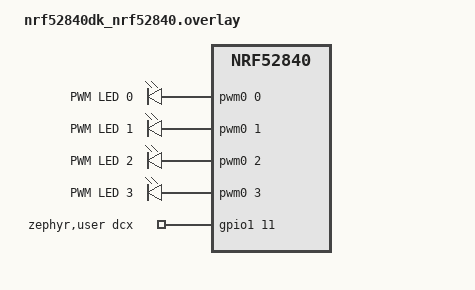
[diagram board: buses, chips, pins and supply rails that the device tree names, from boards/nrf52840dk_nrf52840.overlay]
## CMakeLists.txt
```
#-------------------------------------------------------------------------------
# Zephyr Example Application
#
# Copyright (c) 2021 Nordic Semiconductor ASA
# SPDX-License-Identifier: Apache-2.0

cmake_minimum_required(VERSION 3.13.1)
find_package(Zephyr REQUIRED HINTS $ENV{ZEPHYR_BASE})

project(app LANGUAGES C)

zephyr_include_directories(src)

target_sources(app PRIVATE src/main.c)
target_sources(app PRIVATE src/states.c)
```

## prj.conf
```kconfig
# Copyright (c) 2021 Nordic Semiconductor ASA
# SPDX-License-Identifier: Apache-2.0
#
# This file contains selected Kconfig options for the application.

CONFIG_GPIO=y
CONFIG_PWM=y
CONFIG_SMF=y
CONFIG_COMPILER_WARNINGS_AS_ERRORS=y

CONFIG_UART_ASYNC_API=y
```

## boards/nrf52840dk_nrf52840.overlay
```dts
/ {
    pwmleds {
        compatible = "pwm-leds";
        pwm_led0: pwm_led_0 {
            pwms = <&pwm0 0 PWM_MSEC(20) PWM_POLARITY_NORMAL>;
            label = "PWM LED 0";
        };
        pwm_led1: pwm_led_1 {
            pwms = <&pwm0 1 PWM_MSEC(20) PWM_POLARITY_NORMAL>;
            label = "PWM LED 1";
        };
        pwm_led2: pwm_led_2 {
            pwms = <&pwm0 2 PWM_MSEC(20) PWM_POLARITY_NORMAL>;
            label = "PWM LED 2";
        };
        pwm_led3: pwm_led_3 {
            pwms = <&pwm0 3 PWM_MSEC(20) PWM_POLARITY_NORMAL>;
            label = "PWM LED 3";
        };
    };

    zephyr,user {
        dcx-gpios = <&gpio1 11 GPIO_ACTIVE_HIGH>;
    };

    arduino_spi {
        cs-gpios = <&gpio1 12 GPIO_ACTIVE_LOW>;
    };

    aliases {
        pwm-led0 = &pwm_led0;
        pwm-led1 = &pwm_led1;
        pwm-led2 = &pwm_led2;
        pwm-led3 = &pwm_led3;
    };
};

&pinctrl { 
    pwm0_default: pwm0_default {
		group1 {
			psels = 
                <NRF_PSEL(PWM_OUT0, 0, 13)>, 
                <NRF_PSEL(PWM_OUT1, 0, 14)>, 
                <NRF_PSEL(PWM_OUT2, 0, 15)>, 
                <NRF_PSEL(PWM_OUT3, 0, 16)>;
			nordic,invert;
		};
	};

    pwm0_sleep: pwm0_sleep {
		group1 {
			psels = 
                <NRF_PSEL(PWM_OUT0, 0, 13)>, 
                <NRF_PSEL(PWM_OUT1, 0, 14)>, 
                <NRF_PSEL(PWM_OUT2, 0, 15)>, 
                <NRF_PSEL(PWM_OUT3, 0, 16)>;
			low-power-enable;
		};
	};
};
```

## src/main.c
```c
/**
 * @file main.c
 */

#include <inttypes.h>

#include <zephyr/kernel.h>
#include <zephyr/device.h>
#include <zephyr/drivers/gpio.h>
#include <zephyr/drivers/uart.h>
#include <zephyr/sys/printk.h>


#include "BTN.h"
#include "LED.h"
#include "states.h"

#define SLEEP_MS 1


const struct device *uart = DEVICE_DT_GET(DT_NODELABEL(UART0));

if (!device_id_ready(uart)) {
  return;
}



int main(void) {
  if (0 > BTN_init()) {
    return 0;
  }
  if (0 > LED_init()) {
    return 0;
  }

  crochet_counter_init();
  
  while (1) {
    int ret = crochet_counter_run();
    if (0 > ret) {
      return 0;
    }

    k_msleep(SLEEP_MS);
  }
  return 0;
}
```

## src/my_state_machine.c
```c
/**
 * @file my_state_machine.c
 */

#include <zephyr/smf.h>

#include "LED.h"
#include "BTN.h"
#include "my_state_machine.h"

/*---------------------------------------------------------
 * Function Prototypes  - defines the entry, running and exits
 *-------------------------------------------------------*/

static void s0_state_entry(void* o);
static enum smf_state_result s0_state_run(void* o);
static void s0_state_exit(void* o);

static void s1_state_entry(void* o);
static enum smf_state_result s1_state_run(void* o);
static void s1_state_exit(void* o);

static void s2_state_entry(void* o);
static enum smf_state_result s2_state_run(void* o);
static void s2_state_exit(void* o);

static void s3_state_entry(void* o);
static enum smf_state_result s3_state_run(void* o);
static void s3_state_exit(void* o);

static void s4_state_entry(void* o);
static enum smf_state_result s4_state_run(void* o);
static void s4_state_exit(void* o);


/*---------------------------------------------------------
 * Typedefs
 *-------------------------------------------------------*/
// enum assigns numbers
enum state_diagram_machine_states {     // 'defines' all the states
    ALL_LEDS_OFF_STATE,
    LED_1_BLINK_4HZ_STATE,
    LED_ODD_ON_STATE,
    LED_EVEN_ON_STATE,
    ALL_LED_BLINK_16HZ_STATE
};
typedef struct {
    struct smf_ctx ctx;
    
    uint16_t count;

}s_state_objects_t;

/*---------------------------------------------------------
 * Local Variables
 *-------------------------------------------------------*/
static const struct smf_state s_states[] = {
    [ALL_LEDS_OFF_STATE] = SMF_CREATE_STATE(s0_state_entry, s0_state_run, s0_state_exit, NULL, NULL),
    [LED_1_BLINK_4HZ_STATE] = SMF_CREATE_STATE(s1_state_entry, s1_state_run, s1_state_exit, NULL, NULL),   
    [LED_ODD_ON_STATE] = SMF_CREATE_STATE(s2_state_entry, s2_state_run, s2_state_exit, NULL, NULL),
    [LED_EVEN_ON_STATE] = SMF_CREATE_STATE(s3_state_entry, s3_state_run, s3_state_exit, NULL, NULL),
    [ALL_LED_BLINK_16HZ_STATE] = SMF_CREATE_STATE(s4_state_entry, s4_state_run, s4_state_exit, NULL, NULL)
};


static s_state_objects_t s_state_objects;

void state_machine_init() {
    s_state_objects.count = 0;
    smf_set_initial(SMF_CTX(&s_state_objects), &s_states[ALL_LEDS_OFF_STATE]);
}

int state_machine_run() {
    return smf_run_state(SMF_CTX(&s_state_objects));
}

//S0
static void s0_state_entry(void* o){
    s_state_objects.count = 0;
    LED_set(LED0, LED_OFF);
    LED_set(LED1, LED_OFF);
    LED_set(LED2, LED_OFF);
    LED_set(LED3, LED_OFF);
    printk("Entering S0\n");
}

static enum smf_state_result s0_state_run(void* o){
    if (BTN_check_clear_pressed(BTN0)) {
        smf_set_state(SMF_CTX(&s_state_objects), &s_states[LED_1_BLINK_4HZ_STATE]);
    }
    return SMF_EVENT_HANDLED; // for non-hierarchical state machines
}

static void s0_state_exit(void* o){
    printk("Exiting S0\n");
}

//S1
static void s1_state_entry(void* o) {
    printk("Entering S1\n");
    s_state_objects.count = 0;
    LED_blink(LED0, LED_4HZ); // placed in entry works over in run, in run will require an extra button to run
}

static enum smf_state_result s1_state_run(void* o){

    if (BTN_check_clear_pressed(BTN3)) {
        smf_set_state(SMF_CTX(&s_state_objects), &s_states[ALL_LEDS_OFF_STATE]);
    }
    else if (BTN_check_clear_pressed(BTN2)) {
        smf_set_state(SMF_CTX(&s_state_objects), &s_states[ALL_LED_BLINK_16HZ_STATE]);
    }
    else if (BTN_check_clear_pressed(BTN1)) {
        smf_set_state(SMF_CTX(&s_state_objects), &s_states[LED_ODD_ON_STATE]);
    }
    return SMF_EVENT_HANDLED;
}

static void s1_state_exit(void* o){
    printk("Exiting S1\n");
}

//S2
static void s2_state_entry(void* o){
    printk("Entering S2\n");
    s_state_objects.count = 0;
    LED_set(LED0, LED_ON);
    LED_set(LED2, LED_ON);
}

static enum smf_state_result s2_state_run(void* o) {
    if (s_state_objects.count > 1000) {
        s_state_objects.count = 0;
        smf_set_state(SMF_CTX(&s_state_objects), &s_states[LED_EVEN_ON_STATE]);
    }
    else {
        s_state_objects.count++;
    }
    if (BTN_check_clear_pressed(BTN3)) {
        smf_set_state(SMF_CTX(&s_state_objects), &s_states[ALL_LEDS_OFF_STATE]);
    }

    return SMF_EVENT_HANDLED;
}
static void s2_state_exit(void* o) {
    printk("Exiting S2\n");
    LED_set(LED0, LED_OFF);
    LED_set(LED2, LED_OFF);
}

//S3
static void s3_state_entry(void* o) {
    printk("Entering S3\n");
    s_state_objects.count = 0;
    LED_set(LED1, LED_ON);
    LED_set(LED3, LED_ON);
}

static enum smf_state_result s3_state_run(void* o) {
    if (s_state_objects.count > 2000) {
        s_state_objects.count = 0;
        smf_set_state(SMF_CTX(&s_state_objects), &s_states[LED_ODD_ON_STATE]);
    }
    else {
        s_state_objects.count++;
    }
    if (BTN_check_clear_pressed(BTN3)) {
        smf_set_state(SMF_CTX(&s_state_objects), &s_states[ALL_LEDS_OFF_STATE]);
    }

    return SMF_EVENT_HANDLED;
}
static void s3_state_exit(void* o) {
    printk("Exiting S3\n");
    LED_set(LED1, LED_OFF);
    LED_set(LED3, LED_OFF);
}

//S4
static void s4_state_entry(void* o) {
    printk("Entering S4\n");
    LED_blink(LED0, LED_16HZ);
    LED_blink(LED1, LED_16HZ);
    LED_blink(LED2, LED_16HZ);
    LED_blink(LED3, LED_16HZ);
    s_state_objects.count = 0;
}

static enum smf_state_result s4_state_run(void* o) {
    if (BTN_check_clear_pressed(BTN3)) {
        smf_set_state(SMF_CTX(&s_state_objects), &s_states[ALL_LEDS_OFF_STATE]);
    }

    return SMF_EVENT_HANDLED;
}
static void s4_state_exit(void* o) {
    printk("Exiting S4\n");
}


// typedef struct { // this is like a toolbox that is shared throughout the program, like a save file
//     // Context variable used by zephyr to track state machine state. Must be first
//     struct smf_ctx ctx;

//     uint16_t count; // count is put in here bc every state needs a counter, uint16_t is an unsigned 16 bit int
// } led_state_object_t; // a structure that'll look at state and count


// static led_state_object_t led_state_object;

// void state_machine_init() {
//     led_state_object.count = 0;
//     smf_set_initial(SMF_CTX(&led_state_object), &led_states[LED_ON_STATE]);
// }

// int state_machine_run() {
//     return smf_run_state(SMF_CTX(&led_state_object));
// }

// static void led_off_state_exit(void* o) {
//     LED_set(LED0, LED_ON);
// }

// static enum smf_state_result led_on_state_run(void* o){
//     if (led_state_object.count > 500) {
//         led_state_object.count = 0;
//         smf_set_state(SMF_CTX(&led_state_object), &led_states[LED_OFF_STATE]);
//     } else {
//         led_state_object.count++;
//     }

//     return SMF_EVENT_HANDLED;
// }

// static void led_on_state_exit(void* o) {
//     LED_set(LED0, LED_OFF);
// }

// static enum smf_state_result led_off_state_run(void* o) {
//     if(led_state_object.count > 500) {
//         led_state_object.count = 0;
//         smf_set_state(SMF_CTX(&led_state_object), &led_states[LED_ON_STATE]);
//     } else {
//         led_state_object.count++;
//     }

//     return SMF_EVENT_HANDLED;
// }
```

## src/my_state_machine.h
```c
/**
 * @file my_state_machine.h
 */

#ifndef MY_STATE_MACHINE_H
#define MY_STATE_MACHINE_H

void state_machine_init();

int state_machine_run();

#endif //MY_STATE_MACHINE_H
```

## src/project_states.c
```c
/*
 * project_states.c
 *
 */

#include <zephyr/smf.h>

#include "project_states.h"
#include "BTN.h"
#include "LED.h"

#include <math.h>
#include <string.h>

/*----------------------------------------------------------------
 * Function Prototypes
 *--------------------------------------------------------------*/

 // State
static void start_entry(void* o);
static enum smf_state_result start_run(void* o);
static void start_exit(void* o);

static void selection_entry(void* o);
static enum smf_state_result selection_run(void* o);
static void selection_exit(void* o);

static void amount_entry(void* o);
static enum smf_state_result amount_run(void* o);
static void amount_exit(void* o);

static void review_entry(void* o);
static enum smf_state_result review_run(void* o);
static void review_exit(void* o);

// static void end_entry(void* o);
// static enum smf_state_result end_run(void* o);
// static void end_exit(void* o);

static void restart_entry(void* o);
static enum smf_state_result restart_run(void* o);
static void restart_exit(void* o);

static void final_entry(void* o);
static enum smf_state_result final_run(void* o);
static void final_exit(void* o);


 // Functions
int binaryToDecimal(int binary[], int length);
/*Converts binary to decimal.
   Require
     A binary value the user has inputted and the length of the binary 
     number.
   Promises: The decimal equivalent of the binary number.
   */

void led_setting(int led_num, char *state);
/*
    Require
      The specific LED to change the state of, and the desired state.
    Promises: The specific LED will either turn ON or OFF
*/

void turn_off_all_leds();
void turn_on_all_leds();



/*----------------------------------------------------------------
 * Typedefs
 *--------------------------------------------------------------*/

enum states_def {
    RND_1,
    STITCH_SELECTOR,
    AMOUNT,
    RND_REVIEW,
    END_RND,
    RESTART_OPTIONS,
    FINISH_PROJECT
};

enum stitches { // Keep adding on as needed
    NO_STITCHES,
    MAGIC_RING,             //btn0
    SLIP_KNOT,              //btn1

    CHAIN,                  //btn0
    SINGLE_CROCHET,         //btn1
    DOUBLE_CROCHET,         //btn2
    HALF_DOUBLE_CROCHET,    //btn3
    /*SLIP_STITCH*/
};

static const char *stitch_names[] = {
    "no",
    "MR",
    "Slip knot",

    "CH",
    "SC",
    "DC",
    "HDC",
    /*"SL ST"*/
};


typedef struct {
    enum stitches stitch;
    int amount;
} stitch_t;
typedef struct {
  struct smf_ctx ctx;

  int round_number;                    // starts at zero, but = rnd 1
  int stitch_number;
  int places, count, first_appearance; // places = which place value, count 
  int binary_amount[4];                // binary value from 0 to 9
  int decimal_conversion, decimal_amount;
  
  stitch_t project_rnd[20][20]; // set limit for how many rounds now and how many can go in each list, edit later
} project_states_objects_t;



/*----------------------------------------------------------------
 * Local Variables
 *--------------------------------------------------------------*/

static const struct smf_state states[] = {
    [RND_1] = SMF_CREATE_STATE(start_entry, start_run, start_exit, NULL, NULL),
    [STITCH_SELECTOR] = SMF_CREATE_STATE(selection_entry, selection_run, selection_exit, NULL, NULL),
    [AMOUNT] = SMF_CREATE_STATE(amount_entry, amount_run, amount_exit, NULL, NULL),
    [RND_REVIEW] = SMF_CREATE_STATE(review_entry, review_run, review_exit, NULL, NULL),
    // [END_RND] = SMF_CREATE_STATE(end_entry, end_run, end_exit, NULL, NULL),
    [RESTART_OPTIONS] = SMF_CREATE_STATE(restart_entry, restart_run, restart_exit, NULL, NULL),
    [FINISH_PROJECT] = SMF_CREATE_STATE(final_entry, final_run, final_exit, NULL, NULL)
};

static project_states_objects_t state_objects;

/*----------------------------------------------------------------
 * State Definitions
 *--------------------------------------------------------------*/

 void project_states_init() {
    state_objects.round_number = 0;
    memset(state_objects.project_rnd, 0, sizeof(state_objects.project_rnd));
    memset(state_objects.binary_amount, 0, sizeof(state_objects.binary_amount));
    
    smf_set_initial(SMF_CTX(&state_objects), &states[RND_1]);
 }

 int project_states_run() {
    return smf_run_state(SMF_CTX(&state_objects));
 }

//-------------------------------------------MAYBE ADD SOME OTHER INITIALIZER-------
 // Round 1 Initialization
 static void start_entry(void* o) {
    memset(state_objects.project_rnd, 0, sizeof(state_objects.project_rnd));
    memset(state_objects.binary_amount, 0, sizeof(state_objects.binary_amount));
    state_objects.round_number = 0;
    state_objects.stitch_number = 0;
    printk("--------------------\nProject Begin: \n\nRound 1: ");
    LED_blink(LED0, LED_4HZ);
}
 
 // select starting stitch
 static enum smf_state_result start_run(void* o) {
    if (BTN_check_clear_pressed(BTN0)) {
        state_objects.project_rnd[state_objects.round_number][state_objects.stitch_number].stitch = MAGIC_RING;
        printk("%s, ", stitch_names[MAGIC_RING]);
        smf_set_state(SMF_CTX(&state_objects), &states[STITCH_SELECTOR]);
    }

    if (BTN_check_clear_pressed(BTN1)) {
        state_objects.project_rnd[state_objects.round_number][state_objects.stitch_number].stitch = SLIP_KNOT;
        printk("%s, ", stitch_names[SLIP_KNOT]);
        smf_set_state(SMF_CTX(&state_objects), &states[STITCH_SELECTOR]);
    }

    return SMF_EVENT_HANDLED;
 }

 static void start_exit(void* o) {
    state_objects.stitch_number++;      // move to next stitch
    turn_off_all_leds();
 }


 // Sticth Selection
 static void selection_entry(void* o) {
    LED_blink(LED1, LED_4HZ);
 } 
 static enum smf_state_result selection_run(void* o) {
    if (BTN_check_clear_pressed(BTN0)) {
        state_objects.project_rnd[state_objects.round_number][state_objects.stitch_number].stitch = CHAIN;
        printk("%s ", stitch_names[CHAIN]);
        smf_set_state(SMF_CTX(&state_objects), &states[AMOUNT]);
    }

    if (BTN_check_clear_pressed(BTN1)) {
        state_objects.project_rnd[state_objects.round_number][state_objects.stitch_number].stitch = SINGLE_CROCHET;
        printk("%s ", stitch_names[SINGLE_CROCHET]);
        smf_set_state(SMF_CTX(&state_objects), &states[AMOUNT]);
    }

    if (BTN_check_clear_pressed(BTN2)) {
        state_objects.project_rnd[state_objects.round_number][state_objects.stitch_number].stitch = DOUBLE_CROCHET;
        printk("%s ", stitch_names[DOUBLE_CROCHET]);
        smf_set_state(SMF_CTX(&state_objects), &states[AMOUNT]);
    }

    if (BTN_check_clear_pressed(BTN3)) {
        state_objects.project_rnd[state_objects.round_number][state_objects.stitch_number].stitch = HALF_DOUBLE_CROCHET;
        printk("%s ", stitch_names[HALF_DOUBLE_CROCHET]);
        smf_set_state(SMF_CTX(&state_objects), &states[AMOUNT]);
    }

    return SMF_EVENT_HANDLED;
}

 static void selection_exit(void* o) {
    turn_off_all_leds();
 }


 // Amount of Stitches -------- Only use 0s and 1s
 static void amount_entry(void* o) {
    state_objects.places = 2;
    state_objects.count = 0;
    state_objects.decimal_conversion = 0;
    state_objects.decimal_amount = 0;
    turn_off_all_leds(); // Turn off all led

    memset(state_objects.binary_amount, 0, sizeof(state_objects.binary_amount));
 }

 static enum smf_state_result amount_run(void* o) {
    led_setting(state_objects.places, "ON"); // Turn / keep on Led for specific place values

    // uses idea of bcd to determine ones, tens, and hundreds place amount
    // For ones place:
    if (state_objects.places == 0) {
        if (BTN_check_clear_pressed(BTN0)) {
            state_objects.binary_amount[state_objects.count] = 0;
            state_objects.count++;
        }
        if (BTN_check_clear_pressed(BTN1)) {
            state_objects.binary_amount[state_objects.count] = 1;
            state_objects.count++;
        }
    }
    // For tens place:
     if (state_objects.places == 1) {
        if (BTN_check_clear_pressed(BTN0)) {
            state_objects.binary_amount[state_objects.count] = 0;
            state_objects.count++;
        }
        if (BTN_check_clear_pressed(BTN1)) {
            state_objects.binary_amount[state_objects.count] = 1;
            state_objects.count++;
        }
    }
    // For hundreds place:
     if (state_objects.places == 2) {
        if (BTN_check_clear_pressed(BTN0)) {
            state_objects.binary_amount[state_objects.count] = 0;
            state_objects.count++;
        }
        if (BTN_check_clear_pressed(BTN1)) {
            state_objects.binary_amount[state_objects.count] = 1;
            state_objects.count++;
        }
    }

    // Convert binary to Decimal
    // Max stitches = 999
    if (BTN_check_clear_pressed(BTN2) || (state_objects.count == 4)) {
        state_objects.decimal_conversion = binaryToDecimal(state_objects.binary_amount, state_objects.count);
        
        if (state_objects.places == 0) {
            state_objects.decimal_amount += state_objects.decimal_conversion;
        }
        if (state_objects.places == 1) {
            state_objects.decimal_amount += state_objects.decimal_conversion * 10;
        }
        if (state_objects.places == 2) {
            state_objects.decimal_amount += state_objects.decimal_conversion * 100;
        }

        state_objects.places--;
        state_objects.count = 0;
    }

    if (state_objects.places == -1) {
        printk("%d ", state_objects.decimal_amount);
        state_objects.project_rnd[state_objects.round_number][state_objects.stitch_number].amount = state_objects.decimal_amount;

        smf_set_state(SMF_CTX(&state_objects), &states[RND_REVIEW]);
    }

    return SMF_EVENT_HANDLED;
 }

 static void amount_exit(void* o) {
    turn_off_all_leds();
 }
   

 // Rnd Review
 static void review_entry(void* o) {
    state_objects.first_appearance = 0;
    LED_blink(LED2, LED_4HZ);
 }
 
 static enum smf_state_result review_run(void* o) {
    if (state_objects.first_appearance == 0) {
        printk("\n\nThe result for Round %d: ", state_objects.round_number + 1);

        for (int i = 0; i < 20; i++) { 
            if (strcmp(stitch_names[state_objects.project_rnd[state_objects.round_number][i].stitch], "no") == 0) {
                break;
            }
            if ((i == 0) && (state_objects.first_appearance == 0) && state_objects.round_number == 0) {
                printk("%s, ", stitch_names[state_objects.project_rnd[state_objects.round_number][i].stitch]);
            }
            else{
            printk("%s %d, ", stitch_names[state_objects.project_rnd[state_objects.round_number][i].stitch], state_objects.project_rnd[state_objects.round_number][i].amount);
            }
        }

        state_objects.first_appearance = 1;

        printk("\nSelect:\n\t1) Continue round %d\n\t2) Move to round %d\n\t3) Finish project\n\t4) Move to restart options\n\n", state_objects.round_number + 1, state_objects.round_number + 2);
            //"Select:\n
            // \t1) Continue to round %d\n
            // \t2) Move to round %d\n
            // \t3) Finish project\n 
            // \t4)Move to restart options    }
    }

    if (BTN_check_clear_pressed(BTN0)) {   // Continue round
        state_objects.stitch_number++;
        printk("Round %d: ", state_objects.round_number + 1);

        for (int i = 0; i < state_objects.stitch_number; i++) {
            if ((i == 0) && (state_objects.first_appearance == 1) && state_objects.round_number == 0) { //print first stitch of rnd 1 with no amount, but following first stitchs with an amount
                printk("%s, ", stitch_names[state_objects.project_rnd[state_objects.round_number][i].stitch]);
            }
            else{
                printk("%s %d, ", stitch_names[state_objects.project_rnd[state_objects.round_number][i].stitch], state_objects.project_rnd[state_objects.round_number][i].amount);
            }
        }
        smf_set_state(SMF_CTX(&state_objects), &states[STITCH_SELECTOR]);
    }

    if (BTN_check_clear_pressed(BTN1)) {   // Move to next round
        state_objects.round_number++;
        state_objects.stitch_number = 0;
        printk("Round %d: ", state_objects.round_number + 1);
        smf_set_state(SMF_CTX(&state_objects), &states[STITCH_SELECTOR]);
    }

    if (BTN_check_clear_pressed(BTN2)) {   // End the project
        smf_set_state(SMF_CTX(&state_objects), &states[FINISH_PROJECT]);
    }

    if (BTN_check_clear_pressed(BTN3)) {   // Move to Restart options
        smf_set_state(SMF_CTX(&state_objects), &states[RESTART_OPTIONS]);
    }

    return SMF_EVENT_HANDLED;
}

 static void review_exit(void* o) {
    turn_off_all_leds();
 }
  


 // Restart Option
 static void restart_entry(void* o) {
    state_objects.first_appearance = 0;
    LED_blink(LED3, LED_4HZ);
    printk("You have chosen restart options:\n");
 }

 static enum smf_state_result restart_run(void* o) {
    if (state_objects.first_appearance == 0) {
        printk("\t1) Restart round %d\n\t2) Restart project\n\t3) Cancel\n", state_objects.round_number + 1);

        state_objects.first_appearance++;
    }
    // \t1) Restart round\n
    // \t2) Restart project
    // \t3) Cancel

    if (BTN_check_clear_pressed(BTN0)) {
        memset(state_objects.project_rnd[state_objects.round_number], 0, sizeof(state_objects.project_rnd[state_objects.round_number]));
        state_objects.stitch_number = 0;
        printk("\n----------\nRound %d: ", state_objects.round_number + 1);

        smf_set_state(SMF_CTX(&state_objects), &states[STITCH_SELECTOR]);
    }

    if (BTN_check_clear_pressed(BTN1)) {
        smf_set_state(SMF_CTX(&state_objects), &states[RND_1]);   //RND_1 already clears
    }

    return SMF_EVENT_HANDLED;

 }

 static void restart_exit(void* o) {
    turn_off_all_leds();
 }
 

 // Complete the Project
 static void final_entry(void* o) {
    state_objects.first_appearance = 0;
    turn_on_all_leds();
 }

 static enum smf_state_result final_run(void* o) {
    if (state_objects.first_appearance == 0) {
        int k;
        printk("\n-----------------------\nPrinting Project... \n\n");
        
        for (int j = 0; j <= state_objects.round_number; j++) {
            printk("Round %d: ", j + 1);
            for (k = 0; k < 19; k++) {
                if (state_objects.project_rnd[j][k+1].stitch == NO_STITCHES) {
                    break;
                }
                if ((k == 0) && state_objects.first_appearance == 0) {  //print first stitch of rnd 1 with no amount
                    printk("%s, ", stitch_names[state_objects.project_rnd[j][k].stitch]);
                }
                else{
                    printk("%s %d, ", stitch_names[state_objects.project_rnd[j][k].stitch], state_objects.project_rnd[j][k].amount);                }
            }

            if (state_objects.project_rnd[j][k].stitch != NO_STITCHES) { //print final stitch with no comma at the end
                printk("%s %d\n", stitch_names[state_objects.project_rnd[j][k].stitch], state_objects.project_rnd[j][k].amount);
            }
        }

        printk("\n----------End----------\n\n");
        printk("Would you like to make another?\n\t1) Yes -> BTN0\n\n");
        state_objects.first_appearance = 1;
    }

    if (BTN_check_clear_pressed(BTN0)) {
        smf_set_state(SMF_CTX(&state_objects), &states[RND_1]);
    }

    return SMF_EVENT_HANDLED;
 }

 static void final_exit(void* o) {
    turn_off_all_leds();
 }









/*-------------------------------------------------
 * Functions 
 *-----------------------------------------------*/
int binaryToDecimal(int binary[], int length) {
    int decimal = 0;

    for (int i = 0; i < length; i++) {
        decimal += (binary[length - 1 - i] << i); // binary shifting, better version of 2^i
    }

    return decimal;
}


// add more led functionalities here
void led_setting(int led_num, char *state) {

    //Turn each on individually
    if (led_num == 0 && strcmp(state, "ON") == 0) {         // if desired led is 0 and state is required to be on
        LED_set(LED0, LED_ON);
    }

    if (led_num == 1 && strcmp(state, "ON") == 0) {
        LED_set(LED1, LED_ON);
    }

    if (led_num == 2 && strcmp(state, "ON") == 0) {
        LED_set(LED2, LED_ON);
    }
}


void turn_off_all_leds() {
    LED_set(LED0, LED_OFF);
    LED_set(LED1, LED_OFF);
    LED_set(LED2, LED_OFF);
    LED_set(LED3, LED_OFF);
}

void turn_on_all_leds() {
    LED_set(LED0, LED_ON);
    LED_set(LED1, LED_ON);
    LED_set(LED2, LED_ON);
    LED_set(LED3, LED_ON);
}
```

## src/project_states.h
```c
/*
 * project_states.h
 *
 */

#ifndef PROJECT_STATES_H
#define PROJECT_STATES_H

void project_states_init();
int project_states_run();

#endif /* PROJECT_STATES_H */
```

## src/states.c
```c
/*
* states file
*/

#include <zephyr/smf.h>
#include <zephyr/kernel.h>
#include <zephyr/sys/printk.h>

#include "states.h"
#include "BTN.h"
#include "LED.h"



/*-------------------------------
 * Function Prototypes
 *-----------------------------*/
static enum smf_state_result start_run(void* o);

static void btn_check_entry(void* o);
static enum smf_state_result btn_check_run(void* o);

static enum smf_state_result inc_run(void* o);

static enum smf_state_result dec_run(void* o);

static void reset_entry(void* o);
static enum smf_state_result reset_run(void* o);


/*-------------------------------
 * Extra Functions
 *-----------------------------*/
void led_off();
void led_initialize();
void led_reset();

// void transmit_result(int st_count, int rnd_count);


 /*-------------------------------
 * Typedefs
 *-----------------------------*/
 enum states {
    START,
 	BTN_CHECK,          // trigger a flag based on btn
 	INC,                // inc
 	DEC,                // dec
 	RESET               // either st or rnd goes to 0
 };

typedef struct {
    struct smf_ctx ctx;
    int st_count, rnd_count; 

    int st, rnd;

    int time_start;

} cc_objects_t;


/*-------------------------------
 * Local Variables
 *-----------------------------*/
static const struct smf_state states[] = {
    [START] = SMF_CREATE_STATE(NULL, start_run, NULL, NULL, NULL),
    [BTN_CHECK] = SMF_CREATE_STATE(btn_check_entry, btn_check_run, NULL, NULL, NULL),
    [INC] = SMF_CREATE_STATE(NULL, inc_run, NULL, NULL, NULL),
    [DEC] = SMF_CREATE_STATE(NULL, dec_run, NULL, NULL, NULL),
    [RESET] = SMF_CREATE_STATE(reset_entry, reset_run, NULL, NULL, NULL)
};

static cc_objects_t cc_obj;


/*-------------------------------
 * State Definitions
 *-----------------------------*/
void crochet_counter_init() {
    cc_obj.st_count = 0;
    cc_obj.rnd_count = 0;

    cc_obj.st = 0;
    cc_obj.rnd = 0;

    cc_obj.time_start = 0;

    smf_set_initial(SMF_CTX(&cc_obj), &states[START]);
}

int crochet_counter_run() {
    return smf_run_state(SMF_CTX(&cc_obj));
}

// Start
static enum smf_state_result start_run(void *o) {
    led_initialize();
    printk("Starting! \n");

    smf_set_state(SMF_CTX(&cc_obj), &states[BTN_CHECK]);

    return SMF_EVENT_HANDLED;
}
// ensure led is off
static void btn_check_entry(void* o) {
    led_off();
    cc_obj.time_start = 0;

    cc_obj.st = 0;
    cc_obj.rnd = 0;
}

static enum smf_state_result btn_check_run(void* o) {
    if (BTN_is_pressed(BTN0)) {                         // working with the stitch
        cc_obj.st = 1;
        if (cc_obj.time_start == 0) {
            cc_obj.time_start = k_uptime_get();         
        }
    }
    else if (BTN_is_pressed(BTN1)) {                   // working with the round
        cc_obj.rnd = 1;
        if (cc_obj.time_start == 0) {
            cc_obj.time_start = k_uptime_get();
        }
    }

    //check whether the intention is an inc, dec, or reset to zero
    if (((!BTN_is_pressed(BTN0)) && !BTN_is_pressed(BTN1)) && (cc_obj.time_start != 0)) {
        if ((k_uptime_get() - cc_obj.time_start) >= 1000) {
            smf_set_state(SMF_CTX(&cc_obj), &states[RESET]);
        }
        else if ((k_uptime_get() - cc_obj.time_start >= 300) && ((k_uptime_get() - cc_obj.time_start) < 4000)) {
            smf_set_state(SMF_CTX(&cc_obj), &states[DEC]);
        }
        else if ((k_uptime_get() - cc_obj.time_start >= 0) && ((k_uptime_get() - cc_obj.time_start) < 1500)) {
            smf_set_state(SMF_CTX(&cc_obj), &states[INC]);
        }
    }

    return SMF_EVENT_HANDLED;
}


// INC
static enum smf_state_result inc_run(void* o) {
    if (cc_obj.st == 1) {
        cc_obj.st_count++;
        printk("st = %d\n", cc_obj.st_count);
    }
    else if (cc_obj.rnd == 1) {
        cc_obj.rnd_count++;
        printk("rnd = %d\n", cc_obj.rnd_count);
    }
    smf_set_state(SMF_CTX(&cc_obj), &states[BTN_CHECK]);
    return SMF_EVENT_HANDLED;
}


// DEC
static enum smf_state_result dec_run(void* o) {
    if (cc_obj.st == 1) {
        cc_obj.st_count--;
        printk("st = %d\n", cc_obj.st_count);
    }
    else if (cc_obj.rnd == 1) {
        cc_obj.rnd_count--;
        printk("rnd = %d\n", cc_obj.rnd_count);
    }
    smf_set_state(SMF_CTX(&cc_obj), &states[BTN_CHECK]);
    return SMF_EVENT_HANDLED;
}


// RESET
static void reset_entry(void*o) {  
    led_reset();
}

static enum smf_state_result reset_run(void* o) {
    if (cc_obj.st == 1) {
        cc_obj.st_count = 0;
        printk("st cleared\n");
    }
    else if (cc_obj.rnd == 1) {
        cc_obj.rnd_count = 0;
        printk("rnd cleared!\n");

    }
    smf_set_state(SMF_CTX(&cc_obj), &states[BTN_CHECK]);
    return SMF_EVENT_HANDLED;
}



/*-------------------------------
 * Functions
 *-----------------------------*/
void led_off() {
    LED_set (LED0, 0);
    LED_set(LED1, 0);
    LED_set(LED2, 0);
    LED_set(LED3, 0);
}

void led_initialize() {
    LED_set(LED0, 1);
    k_msleep(1500);
    LED_set(LED1, 1);
    k_msleep(1500);
    LED_set(LED2, 1);
    k_msleep(1500);
    LED_set(LED3, 1);
}

void led_reset() {
    LED_set(LED0, 1);
    LED_set(LED1, 1);
    LED_set(LED2, 1);
    LED_set(LED3, 1);
}

// void transmit_result(int st_count, int rnd_count)
```

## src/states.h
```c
/*
* header file
*
*/

#ifndef STATES_H
#define STATES_H

void crochet_counter_init();
int crochet_counter_run();

#endif /* STATES_H */
```
